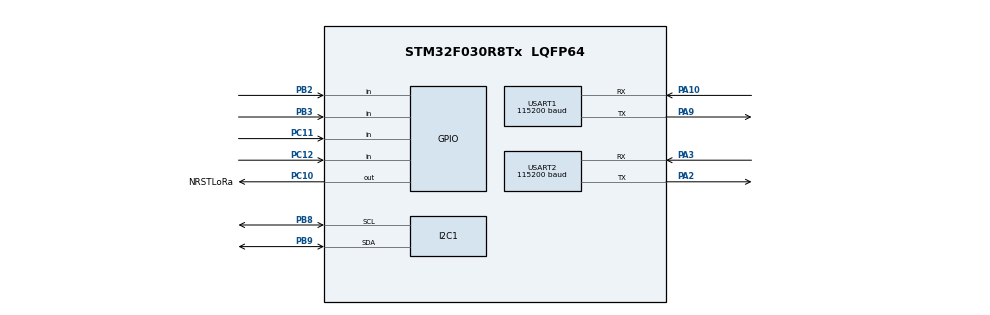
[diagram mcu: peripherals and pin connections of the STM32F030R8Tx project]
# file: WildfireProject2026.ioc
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I2C1.Timing=0x00201D2B
Mcu.Family=STM32F0
Mcu.Name=STM32F030R8Tx
Mcu.Package=LQFP64
NVIC.TIM6_IRQn=true\:0\:0\:false\:false\:true\:true\:true\:true
PA10.Mode=Asynchronous
PA10.Signal=USART1_RX
PA2.Mode=Asynchronous
PA2.Signal=USART2_TX
PA3.Mode=Asynchronous
PA3.Signal=USART2_RX
PA9.Mode=Asynchronous
PA9.Signal=USART1_TX
PB2.Signal=GPIO_Input
PB3.Signal=GPIO_Input
PB8.Mode=I2C
PB8.Signal=I2C1_SCL
PB9.Mode=I2C
PB9.Signal=I2C1_SDA
PC10.GPIO_Label=NRSTLoRa
PC10.PinState=GPIO_PIN_SET
PC10.Signal=GPIO_Output
PC11.Signal=GPIO_Input
PC12.Signal=GPIO_Input
ProjectManager.HeapSize=0x200
ProjectManager.StackSize=0x400
ProjectManager.TargetToolchain=STM32CubeIDE
TIM6.Period=54999
TIM6.Prescaler=7999
USART1.BaudRate=115200
USART1.VirtualMode-Asynchronous=VM_ASYNC
USART2.BaudRate=115200
USART2.VirtualMode-Asynchronous=VM_ASYNC
VP_TIM6_VS_ClockSourceINT.Mode=Enable_Timer
board=custom

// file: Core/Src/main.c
/* USER CODE BEGIN Header */
/**
 ******************************************************************************
 * @file           : main.c
 * @brief          : Main program body
 ******************************************************************************
 * @attention
 *
 * Copyright (c) 2026 STMicroelectronics.
 * All rights reserved.
 *
 * This software is licensed under terms that can be found in the LICENSE file
 * in the root directory of this software component.
 * If no LICENSE file comes with this software, it is provided AS-IS.
 *
 ******************************************************************************
 * Wildfire Smoke Detection System
 *
 * This project uses:
 * - STM32 Nucleo F030 MCU
 * - Bosch BME688 gas/smoke sensor
 * - Reyax RYLR896 LoRa module
 *
 * The system continuously monitors gas resistance values from
 * the BME688 sensor. If smoke is detected based on a threshold,
 * an alert message is transmitted over LoRa.
 *
 ******************************************************************************
 */
/* USER CODE END Header */
#include "main.h"
#include "i2c.h"
#include "tim.h"
#include "usart.h"
#include "gpio.h"

/* USER CODE BEGIN Includes */
#include "bme68x.h"
#include "bme_interface.h"
#include "bme68x_defs.h"
#include <string.h>
#include <stdint.h>
#include <stdio.h>

/* USER CODE END Includes */

/* USER CODE BEGIN PTD */
//Main BME688 device structure
struct bme68x_dev bme;
//Structure used for sensor config
struct bme68x_conf conf;
//Structure used for heater config
struct bme68x_heatr_conf heatr_conf;
//i2c address
uint8_t dev_addr;
/* USER CODE END PTD */

/* USER CODE BEGIN PD */

//Smoke Detection Threshold Settings
//Gas resistance threshold for smoke detection
#define SMOKE_THRESHOLD 50000
//Number of confirmation scans required
#define REQUIRED_HITS 3
//Total scans performed during verification
#define TOTAL_SCANS 5
/* USER CODE END PD */

/* USER CODE BEGIN PV */
//Flag exiting sleep mode for timer interrupt
//Volatile for flag change detection
volatile uint8_t wake_flag = 0;
//UART Reciever Buffer
uint8_t lora_rx[128];
char debug_msg[128];
/* USER CODE END PV */

void SystemClock_Config(void);

/* USER CODE BEGIN 0 */

//Function:LoRa_Send
//Purpose:Transmits AT commands message to receiver
//Inputs:
//msg-> Character string containing AT command
//USART1 is used for communication with the LoRa module
//HAL_UART_Transmit() is a blocking transmit function
//strlen() determines the number of bytes to send
//Must end with \"\\r\\n\" for proper AT command
void LoRa_Send(char *msg)
{

	HAL_UART_Transmit(&huart1,(uint8_t*)msg,strlen(msg),HAL_MAX_DELAY);
}

//Function: Debug_Print
//Purpose:Send debugging text to the PC serial terminal
//through the ST-Link virtual COM port (USART2)
void Debug_Print(char *msg)
{
	HAL_UART_Transmit(&huart2,(uint8_t*)msg,strlen(msg),HAL_MAX_DELAY);
}

//Function: LoRa_Read
//Purpose:Reads response data coming back from the Reyax LoRa module and enables LoRa to LoRa communication.
//This removes the need for LoRaWAN, and solves the gateway issue on github.
//Examples of responses:+OK,+RCV=1,11,SMOKE ALERT,-45,22

void LoRa_Read(void)
{
	//Clear receive buffer before reading
	memset(lora_rx, 0, sizeof(lora_rx));

	//Attempt UART receive
	//HAL_StatusTypeDef status;
	HAL_UART_Receive(&huart1,lora_rx,sizeof(lora_rx),1000);
	//
	//	//Receive UART data from LoRa module
	//	//huart1 = UART connected to Reyax module
	//	//1000 = timeout in milliseconds
	//	status = HAL_UART_Receive(&huart1,lora_rx,sizeof(lora_rx),1000);
	//
	//	//Used for debugging connectivity issues.
	//	//If module responded successfully
	//	if(status == HAL_OK)
	//	{
	//		Debug_Print("LORA RESPONSE:\r\n");
	//
	//		Debug_Print((char*)lora_rx);
	//
	//		Debug_Print("\r\n");
	//	}
	//	else
	//	{
	//		Debug_Print("NO RESPONSE FROM LORA\r\n");
	//	}
	}

	/* USER CODE END 0 */

	/**
	 * @brief  The application entry point.
	 * @retval int
	 */
	int main(void)
	{

		/* MCU Configuration--------------------------------------------------------*/

		/* Reset of all peripherals, Initializes the Flash interface and the Systick. */
		HAL_Init();

		/* Configure the system clock */
		SystemClock_Config();

		/* Initialize all configured peripherals */
		MX_GPIO_Init();
		MX_I2C1_Init();
		MX_USART1_UART_Init();
		MX_TIM6_Init();
		MX_USART2_UART_Init();
		/* USER CODE BEGIN 2 */
		//Start the interrupt timer
		HAL_TIM_Base_Start_IT(&htim6);

		//Test communication with module
		LoRa_Send("AT\r\n");
		//Read response
		LoRa_Read();
		HAL_Delay(1000);

		//Set operating frequency to 915 MHz
		LoRa_Send("AT+BAND=915000000\r\n");
		//Read confirmation
		LoRa_Read();
		HAL_Delay(1000);

		//Set local device address to #1
		LoRa_Send("AT+ADDRESS=1\r\n");
		//Read confirmation
		LoRa_Read();
		HAL_Delay(1000);

		//Set network ID for communication (receiver and transmit must match)
		LoRa_Send("AT+NETWORKID=5\r\n");
		//Read confirmation
		LoRa_Read();
		HAL_Delay(1000);

		//Configure BME688 Sensor Interface, including I2C, read/write, and local temp
		dev_addr = BME68X_I2C_ADDR_LOW;
		bme.intf = BME68X_I2C_INTF;
		bme.intf_ptr = &dev_addr;
		bme.read = bme68x_i2c_read;
		bme.write = bme68x_i2c_write;
		bme.delay_us = bme68x_delay_us;
		bme.amb_temp = 25;

		//Initialize sensor
		int8_t rslt;

		rslt = bme68x_init(&bme);

		if(rslt == BME68X_OK)
		{
			Debug_Print("BME688 INIT SUCCESS\r\n");
		}
		else
		{
			Debug_Print("BME688 INIT FAILED\r\n");
		}

		//Configure environmental sensor settings
		conf.filter = BME68X_FILTER_OFF;
		conf.odr = BME68X_ODR_NONE;
		conf.os_hum = BME68X_OS_2X;
		conf.os_pres = BME68X_OS_4X;
		conf.os_temp = BME68X_OS_8X;
		//Apply changes to sensor
		bme68x_set_conf(&conf, &bme);

		//Configure gas sensor heater
		heatr_conf.enable = BME68X_ENABLE;
		//320C heater temperature
		heatr_conf.heatr_temp = 320;
		//150ms heater duration
		heatr_conf.heatr_dur = 150;
		//Apply changes to heater hardware
		bme68x_set_heatr_conf(BME68X_FORCED_MODE,&heatr_conf,&bme);
		/* USER CODE END 2 */

		/* Infinite loop */
		/* USER CODE BEGIN WHILE */
		while (1)
		{
			Debug_Print("\r\n========================\r\n");
			Debug_Print("New Monitoring Cycle\r\n");
			//Clear Wakeup Flag
			wake_flag = 0;
			//Create Sensor Data Structures
			struct bme68x_data data;
			uint8_t n_fields;
			//Forced mode performs a single measurement.
			bme68x_set_op_mode(BME68X_FORCED_MODE,&bme);
			HAL_Delay(200);
			//Read sensor data
			bme68x_get_data(BME68X_FORCED_MODE,&data,&n_fields,&bme);

			//Gas detection logic
			//Multiple scans are used to reduce false positives
			//Lower gas resistance values may indicate smoke or poor air quality
			uint8_t smoke_hits = 0;
			// Perform additional verification scans
			for(uint8_t i = 0; i < TOTAL_SCANS; i++)
			{
				//Start forced measurement
				bme68x_set_op_mode(BME68X_FORCED_MODE, &bme);
				//Wait for conversion
				HAL_Delay(200);
				//Read sensor data
				bme68x_get_data(BME68X_FORCED_MODE,&data,&n_fields,&bme);

				//Debugging tool for sampling interval
				//Throws a warning, but only used for debugging
				sprintf(debug_msg,"Time: %lu ms Gas Resistance: %lu\r\n", HAL_GetTick(), (unsigned long)data.gas_resistance);
				Debug_Print(debug_msg);

				//Check smoke threshold
				if(data.gas_resistance < SMOKE_THRESHOLD)
				{
					smoke_hits++;

				}

				sprintf(debug_msg,"Smoke Hits: %d\r\n",smoke_hits);

				Debug_Print(debug_msg);

				//Small delay between scans
				HAL_Delay(500);
			}

			sprintf(debug_msg,"Final Smoke Hits: %d / %d\r\n",smoke_hits,TOTAL_SCANS);

			Debug_Print(debug_msg);
			//Smoke alert only transmits if enough scans exceed threshold
			if(smoke_hits >= REQUIRED_HITS)
			{
				Debug_Print("SMOKE EVENT DETECTED\r\n");

				Debug_Print("Attempting LoRa Transmission...\r\n");
				//Reconfigure later based on desired alert
				LoRa_Send("AT+SEND=2,11,SMOKE ALERT\r\n");

			}
			else
			{
				Debug_Print("No Smoke Detected\r\n");
			}

			//Enter Low Power Sleep Mode
			//The MCU sleeps until TIM6 generates an interrupt.
			while(wake_flag == 0)
			{
				HAL_PWR_EnterSLEEPMode(PWR_MAINREGULATOR_ON,
						PWR_SLEEPENTRY_WFI);
			}
		}

			/* USER CODE END WHILE */

		}

	/**
	 * @brief System Clock Configuration
	 * @retval None
	 */
	void SystemClock_Config(void)
	{
		RCC_OscInitTypeDef RCC_OscInitStruct = {0};
		RCC_ClkInitTypeDef RCC_ClkInitStruct = {0};
		RCC_PeriphCLKInitTypeDef PeriphClkInit = {0};

		/** Initializes the RCC Oscillators according to the specified parameters
		 * in the RCC_OscInitTypeDef structure.
		 */
		RCC_OscInitStruct.OscillatorType = RCC_OSCILLATORTYPE_HSI;
		RCC_OscInitStruct.HSIState = RCC_HSI_ON;
		RCC_OscInitStruct.HSICalibrationValue = RCC_HSICALIBRATION_DEFAULT;
		RCC_OscInitStruct.PLL.PLLState = RCC_PLL_NONE;
		if (HAL_RCC_OscConfig(&RCC_OscInitStruct) != HAL_OK)
		{
			Error_Handler();
		}

		/** Initializes the CPU, AHB and APB buses clocks
		 */
		RCC_ClkInitStruct.ClockType = RCC_CLOCKTYPE_HCLK|RCC_CLOCKTYPE_SYSCLK
				|RCC_CLOCKTYPE_PCLK1;
		RCC_ClkInitStruct.SYSCLKSource = RCC_SYSCLKSOURCE_HSI;
		RCC_ClkInitStruct.AHBCLKDivider = RCC_SYSCLK_DIV1;
		RCC_ClkInitStruct.APB1CLKDivider = RCC_HCLK_DIV1;

		if (HAL_RCC_ClockConfig(&RCC_ClkInitStruct, FLASH_LATENCY_0) != HAL_OK)
		{
			Error_Handler();
		}
		PeriphClkInit.PeriphClockSelection = RCC_PERIPHCLK_USART1|RCC_PERIPHCLK_I2C1;
		PeriphClkInit.Usart1ClockSelection = RCC_USART1CLKSOURCE_PCLK1;
		PeriphClkInit.I2c1ClockSelection = RCC_I2C1CLKSOURCE_HSI;
		if (HAL_RCCEx_PeriphCLKConfig(&PeriphClkInit) != HAL_OK)
		{
			Error_Handler();
		}
	}

	/* USER CODE BEGIN 4 */

	//Function:HAL_TIM_PeriodElapsedCallback
	//Purpose:Executes automatically when TIM6 overflows.
	//This interrupt wakes the MCU from low power sleep mode by
	//setting the wake_flag variable.
	void HAL_TIM_PeriodElapsedCallback(TIM_HandleTypeDef *htim)
	{
		if(htim->Instance == TIM6)
		{
			wake_flag = 1;
		}
	}

	/* USER CODE END 4 */

	/**
	 * @brief  This function is executed in case of error occurrence.
	 * @retval None
	 */
	void Error_Handler(void)
	{
		__disable_irq();
		while (1)
		{
		}
	}
